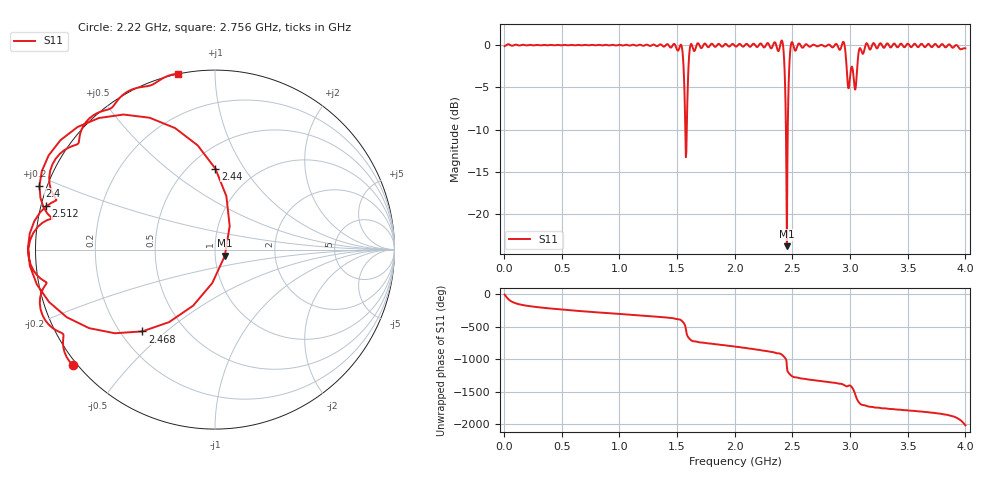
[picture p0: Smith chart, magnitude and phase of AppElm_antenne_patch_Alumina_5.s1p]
! TOUCHSTONE file generated by CST MICROWAVE STUDIO
! Date and time: Thu Jun  9 07:39:58 2022
! Project name: AppElm_antenne_patch_Alumina.cst
! Parameters = {L=30.5; W=39.71; e=0.035; h=1.6; lambda=0.190476; ls=90; w0=1.12; w1=0.373; ws=90; y0=14; y1=10}
! Header version: 2018
! Port assignment regex: !\s*Touchstone port\s*([0-9]+)\s*=\s*(CST MWS port|CST DS port)\s*([0-9]+|Zmin|Zmax)\s*\(\"(.*)\"\)(\s*mode\s*([0-9]+))?.*
! Touchstone port assignment:
! Touchstone port 1 = CST MWS port 1 ("")
# GHz S MA R 50
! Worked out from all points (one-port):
!   1000 points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, 4 MHz to 4 GHz, reference 50 ohm
!   lowest |S11| = -23.8 dB at 2.452 GHz (marker M1), VSWR 1.14, Z = 55.7 - j3.86 ohm
!   |S11| at or under -10 dB: 1.571 GHz to 1.584 GHz (12.67 MHz wide, 0.803 % of centre); 2.444 GHz to 2.46 GHz (16 MHz wide, 0.653 % of centre)
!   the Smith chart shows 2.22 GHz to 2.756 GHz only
!   S11 on the Smith chart (normalised r, x): 2.22 GHz: -0.01, -0.36; 2.4 GHz: -0.02, +0.18; 2.44 GHz: 0.66, +0.75; 2.468 GHz: 0.29, -0.42; 2.512 GHz: 0.01, +0.13; 2.756 GHz: -0.00, +0.81
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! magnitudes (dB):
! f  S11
! 4 MHz  -0.1
! 504 MHz  0.0
! 1.004 GHz  0.0
! 1.504 GHz  -0.7
! 1.54 GHz  -0.1
! 1.576 GHz  -13.2
! 1.588 GHz  -7.1
! 1.608 GHz  -0.7
! 1.624 GHz  0.1
! 2.004 GHz  -0.1
! 2.22 GHz  0.2
! 2.4 GHz  0.3
! 2.42 GHz  -0.2
! 2.44 GHz  -6.9
! 2.452 GHz  -23.8
! 2.468 GHz  -4.3
! 2.484 GHz  -0.3
! 2.504 GHz  0.2
! 2.512 GHz  -0.3
! 2.756 GHz  0.0
! 2.94 GHz  0.4
! 2.98 GHz  -4.6
! 3.004 GHz  -3.2
! 3.044 GHz  -5.3
! 3.084 GHz  -0.4
! 3.144 GHz  0.2
! 3.504 GHz  0.2
! 4 GHz  -0.4
